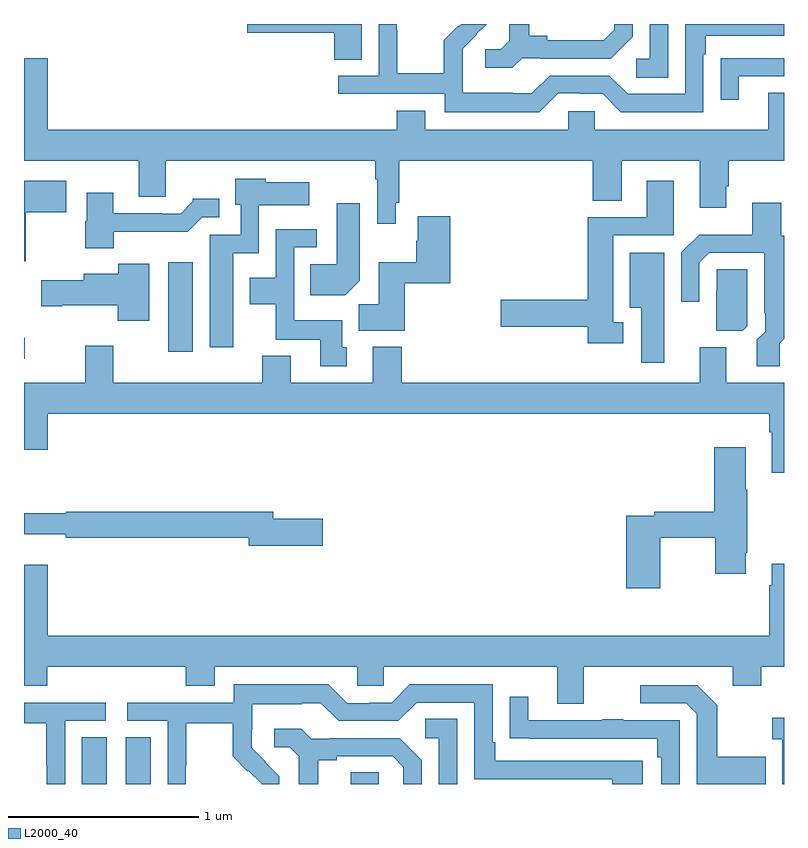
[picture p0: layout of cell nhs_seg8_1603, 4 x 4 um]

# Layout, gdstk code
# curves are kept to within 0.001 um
import gdstk
lib = gdstk.Library(unit=1e-6, precision=1e-09)
def R(c, l, rs):  # rectangles x0, y0, x1, y1
    for r in rs: c.add(gdstk.rectangle(r[:2], r[2:], *l))
def P(c, l, *ps):  # polygons
    for p in ps: c.add(gdstk.Polygon(p, *l))
L2000_40 = (2000, 40)

nhs_seg8_1603 = lib.new_cell('nhs_seg8_1603')
R(nhs_seg8_1603, L2000_40, [(213.305,1099.9,213.436,1100.147), (213.536,1099.9,213.667,1100.147), (214.721,1099.9,214.866,1099.961), (213,1102.137,213.005,1102.249), (213.758,1102.176,213.889,1102.645), (215.831,1103.899,215.976,1103.9)])
P(nhs_seg8_1603, L2000_40, [(215.622,1103.721),(215.716,1103.721),(215.716,1103.718),(216.088,1103.718),(216.204,1103.834),(216.204,1103.9),(216.107,1103.9),(216.107,1103.871),(216.05,1103.814),(215.755,1103.814),(215.755,1103.837),(215.659,1103.837),(215.659,1103.9),(215.555,1103.9),(215.555,1103.813),(215.508,1103.766),(215.427,1103.766),(215.427,1103.669),(215.57,1103.669)],
  [(216.39,1103.9),(216.294,1103.9),(216.294,1103.718),(216.222,1103.718),(216.222,1103.617),(216.39,1103.617)],
  [(215.811,1103.535),(215.927,1103.535),(215.927,1103.532),(216.045,1103.532),(216.141,1103.436),(216.576,1103.436),(216.576,1103.741),(216.589,1103.741),(216.589,1103.838),(217,1103.838),(217,1103.9),(216.48,1103.9),(216.48,1103.532),(216.177,1103.532),(216.081,1103.628),(215.766,1103.628),(215.673,1103.535),(215.573,1103.535),(215.573,1103.539),(215.31,1103.539),(215.31,1103.673),(215.308,1103.673),(215.308,1103.77),(215.436,1103.9),(215.3,1103.9),(215.289,1103.889),(215.286,1103.892),(215.209,1103.815),(215.209,1103.641),(214.965,1103.641),(214.965,1103.864),(214.962,1103.864),(214.962,1103.9),(214.866,1103.9),(214.866,1103.628),(214.653,1103.628),(214.653,1103.532),(215.214,1103.532),(215.214,1103.435),(215.711,1103.435)],
  [(214.777,1103.9),(214.176,1103.9),(214.176,1103.855),(214.634,1103.855),(214.634,1103.713),(214.777,1103.713)],
  [(216.763,1103.625),(217,1103.625),(217,1103.721),(216.769,1103.721),(216.769,1103.72),(216.667,1103.72),(216.667,1103.502),(216.763,1103.502)],
  [(214.956,1102.96),(214.976,1102.96),(214.976,1103.18),(215.993,1103.18),(215.993,1102.969),(216.145,1102.969),(216.145,1103.18),(216.557,1103.18),(216.557,1102.932),(216.697,1102.932),(216.697,1103.047),(216.71,1103.047),(216.71,1103.18),(217,1103.18),(217,1103.539),(216.917,1103.539),(216.917,1103.344),(216.003,1103.344),(216.003,1103.442),(215.865,1103.442),(215.865,1103.344),(215.113,1103.344),(215.113,1103.443),(214.961,1103.443),(214.961,1103.344),(213.124,1103.344),(213.124,1103.719),(213,1103.719),(213,1103.18),(213.605,1103.18),(213.605,1102.99),(213.745,1102.99),(213.745,1103.18),(214.848,1103.18),(214.848,1103.084),(214.86,1103.084),(214.86,1102.848),(214.956,1102.848)],
  [(214.102,1102.694),(214.236,1102.694),(214.236,1102.946),(214.501,1102.946),(214.501,1103.068),(214.272,1103.068),(214.272,1103.086),(214.112,1103.086),(214.112,1102.95),(214.14,1102.95),(214.14,1102.791),(213.977,1102.791),(213.977,1102.2),(214.102,1102.2)],
  [(213.01,1102.909),(213.223,1102.909),(213.223,1103.074),(213,1103.074),(213,1102.652),(213.01,1102.652)],
  [(216.154,1102.33),(216.1,1102.33),(216.1,1102.788),(216.421,1102.788),(216.421,1103.074),(216.278,1103.074),(216.278,1102.884),(215.966,1102.884),(215.966,1102.448),(215.508,1102.448),(215.508,1102.306),(215.966,1102.306),(215.966,1102.22),(216.154,1102.22)],
  [(213.472,1102.806),(213.861,1102.806),(213.939,1102.884),(214.027,1102.884),(214.027,1102.981),(213.888,1102.981),(213.888,1102.966),(213.824,1102.902),(213.725,1102.902),(213.725,1102.905),(213.469,1102.905),(213.469,1103.011),(213.329,1103.011),(213.329,1102.863),(213.322,1102.863),(213.322,1102.721),(213.472,1102.721)],
  [(216.977,1102.221),(217,1102.244),(217,1102.785),(216.986,1102.785),(216.986,1102.96),(216.833,1102.96),(216.833,1102.792),(216.553,1102.792),(216.459,1102.698),(216.459,1102.437),(216.555,1102.437),(216.555,1102.644),(216.606,1102.695),(216.897,1102.695),(216.897,1102.381),(216.9,1102.381),(216.9,1102.281),(216.857,1102.238),(216.857,1102.098),(216.977,1102.098)],
  [(214.768,1102.55),(214.768,1102.957),(214.646,1102.957),(214.646,1102.636),(214.507,1102.636),(214.507,1102.472),(214.69,1102.472)],
  [(215.003,1102.535),(215.243,1102.535),(215.243,1102.888),(215.072,1102.888),(215.072,1102.76),(215.065,1102.76),(215.065,1102.645),(214.868,1102.645),(214.868,1102.424),(214.763,1102.424),(214.763,1102.286),(215.003,1102.286)],
  [(214.699,1102.2),(214.675,1102.2),(214.675,1102.342),(214.422,1102.342),(214.422,1102.725),(214.54,1102.725),(214.54,1102.821),(214.326,1102.821),(214.326,1102.564),(214.187,1102.564),(214.187,1102.424),(214.324,1102.424),(214.324,1102.238),(214.559,1102.238),(214.559,1102.098),(214.699,1102.098)],
  [(216.37,1102.696),(216.188,1102.696),(216.188,1102.406),(216.248,1102.406),(216.248,1102.116),(216.37,1102.116)],
  [(213.658,1102.639),(213.496,1102.639),(213.496,1102.585),(213.314,1102.585),(213.314,1102.551),(213.09,1102.551),(213.09,1102.414),(213.202,1102.414),(213.202,1102.421),(213.494,1102.421),(213.494,1102.338),(213.658,1102.338)],
  [(216.807,1102.308),(216.807,1102.61),(216.645,1102.61),(216.645,1102.499),(216.644,1102.499),(216.644,1102.285),(216.783,1102.285)],
  [(217,1102.012),(216.697,1102.012),(216.697,1102.2),(216.557,1102.2),(216.557,1102.012),(214.988,1102.012),(214.988,1102.201),(214.835,1102.201),(214.835,1102.012),(214.405,1102.012),(214.405,1102.153),(214.253,1102.153),(214.253,1102.012),(213.469,1102.012),(213.469,1102.207),(213.322,1102.207),(213.322,1102.012),(213,1102.012),(213,1101.66),(213.124,1101.66),(213.124,1101.848),(216.923,1101.848),(216.923,1101.752),(216.935,1101.752),(216.935,1101.537),(217,1101.537)],
  [(216.348,1101.196),(216.637,1101.196),(216.637,1101.006),(216.799,1101.006),(216.799,1101.118),(216.807,1101.118),(216.807,1101.449),(216.799,1101.449),(216.799,1101.673),(216.632,1101.673),(216.632,1101.332),(216.316,1101.332),(216.316,1101.312),(216.17,1101.312),(216.17,1100.931),(216.348,1100.931)],
  [(214.573,1101.296),(214.312,1101.296),(214.312,1101.332),(213.222,1101.332),(213.222,1101.325),(213,1101.325),(213,1101.215),(213.22,1101.215),(213.22,1101.196),(214.184,1101.196),(214.184,1101.154),(214.573,1101.154)],
  [(215.947,1100.516),(216.731,1100.516),(216.731,1100.417),(216.879,1100.417),(216.879,1100.516),(217,1100.516),(217,1101.058),(216.935,1101.058),(216.935,1100.945),(216.923,1100.945),(216.923,1100.68),(213.124,1100.68),(213.124,1101.055),(213,1101.055),(213,1100.417),(213.122,1100.417),(213.122,1100.516),(213.851,1100.516),(213.851,1100.417),(214.003,1100.417),(214.003,1100.516),(214.755,1100.516),(214.755,1100.418),(214.893,1100.418),(214.893,1100.516),(215.807,1100.516),(215.807,1100.322),(215.947,1100.322)],
  [(213.852,1099.996),(213.855,1099.996),(213.855,1100.22),(214.099,1100.22),(214.099,1100.045),(214.176,1099.968),(214.179,1099.971),(214.25,1099.9),(214.344,1099.9),(214.344,1099.942),(214.198,1100.09),(214.198,1100.187),(214.2,1100.187),(214.2,1100.321),(214.463,1100.321),(214.463,1100.325),(214.563,1100.325),(214.656,1100.232),(214.971,1100.232),(215.067,1100.328),(215.37,1100.328),(215.37,1099.926),(216.095,1099.926),(216.095,1099.9),(216.256,1099.9),(216.256,1100.022),(215.479,1100.022),(215.479,1100.119),(215.466,1100.119),(215.466,1100.424),(215.031,1100.424),(214.935,1100.328),(214.817,1100.328),(214.817,1100.325),(214.701,1100.325),(214.601,1100.425),(214.104,1100.425),(214.104,1100.328),(213.543,1100.328),(213.543,1100.232),(213.756,1100.232),(213.756,1099.9),(213.852,1099.9)],
  [(216.905,1100.043),(216.649,1100.043),(216.649,1100.315),(216.543,1100.421),(216.243,1100.421),(216.243,1100.325),(216.486,1100.325),(216.54,1100.271),(216.54,1099.9),(216.905,1099.9)],
  [(216.45,1100.235),(216.155,1100.235),(216.155,1100.24),(216.043,1100.24),(216.043,1100.235),(215.653,1100.235),(215.653,1100.359),(215.557,1100.359),(215.557,1100.14),(215.659,1100.14),(215.659,1100.139),(216.334,1100.139),(216.334,1100.042),(216.354,1100.042),(216.354,1099.9),(216.45,1099.9)],
  [(213.216,1100.232),(213.43,1100.232),(213.43,1100.328),(213,1100.328),(213,1100.22),(213.118,1100.22),(213.118,1099.996),(213.12,1099.996),(213.12,1099.9),(213.216,1099.9)],
  [(217,1100.248),(216.939,1100.248),(216.939,1100.135),(216.99,1100.135),(216.99,1099.9),(217,1099.9)],
  [(215.28,1100.243),(215.112,1100.243),(215.112,1100.142),(215.184,1100.142),(215.184,1099.9),(215.28,1099.9)],
  [(214.549,1100.024),(214.645,1100.024),(214.645,1100.046),(214.94,1100.046),(214.997,1099.989),(214.997,1099.9),(215.094,1099.9),(215.094,1100.026),(214.978,1100.142),(214.606,1100.142),(214.606,1100.139),(214.512,1100.139),(214.46,1100.191),(214.317,1100.191),(214.317,1100.094),(214.398,1100.094),(214.445,1100.047),(214.445,1099.9),(214.549,1099.9)])

lib.write_gds('nhs_seg8_1603.gds')
